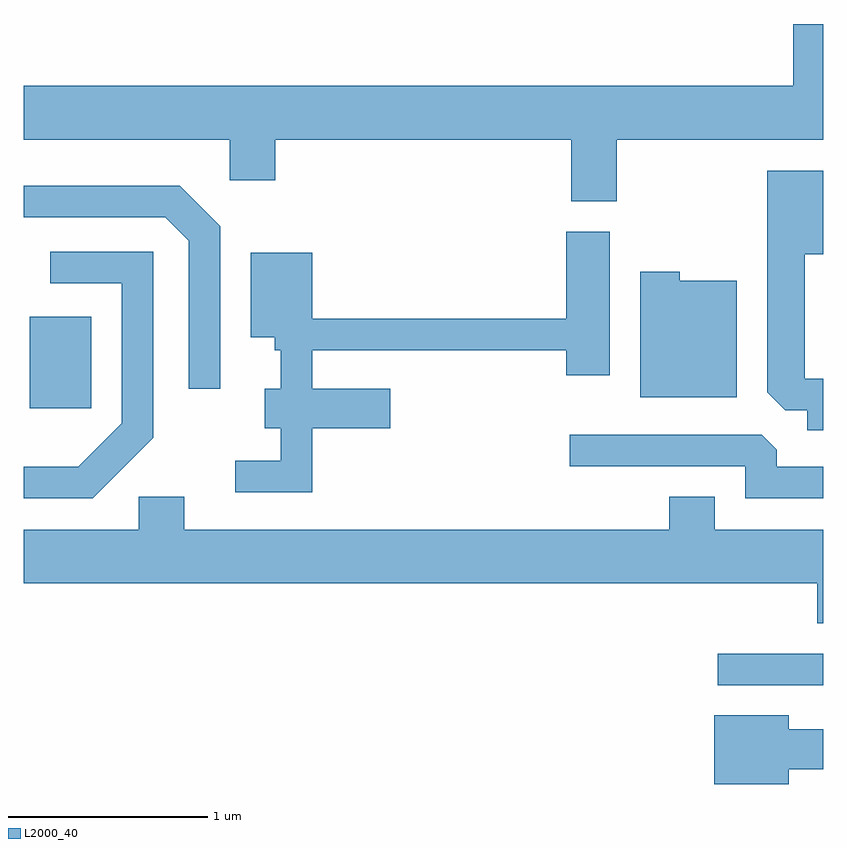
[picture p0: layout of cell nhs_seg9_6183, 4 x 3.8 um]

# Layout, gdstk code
import gdstk
lib = gdstk.Library(unit=1e-6, precision=1e-09)
def R(c, l, rs):  # rectangles x0, y0, x1, y1
    for r in rs: c.add(gdstk.rectangle(r[:2], r[2:], *l))
def P(c, l, *ps):  # polygons
    for p in ps: c.add(gdstk.Polygon(p, *l))
L2000_40 = (2000, 40)

nhs_seg9_6183 = lib.new_cell('nhs_seg9_6183')
R(nhs_seg9_6183, L2000_40, [(371.083,2009.066,371.611,2009.224), (367.641,2010.451,367.949,2010.909)])
P(nhs_seg9_6183, L2000_40, [(370.579,2011.796),(371.611,2011.796),(371.611,2012.374),(371.461,2012.374),(371.461,2012.064),(367.611,2012.064),(367.611,2011.796),(368.641,2011.796),(368.641,2011.591),(368.869,2011.591),(368.869,2011.796),(370.351,2011.796),(370.351,2011.486),(370.579,2011.486)],
  [(371.611,2010.599),(371.519,2010.599),(371.519,2011.221),(371.611,2011.221),(371.611,2011.639),(371.331,2011.639),(371.331,2010.532),(371.422,2010.441),(371.531,2010.441),(371.531,2010.341),(371.611,2010.341)],
  [(368.594,2011.362),(368.392,2011.564),(367.611,2011.564),(367.611,2011.406),(368.319,2011.406),(368.436,2011.289),(368.436,2010.548),(368.594,2010.548)],
  [(369.054,2010.351),(369.444,2010.351),(369.444,2010.549),(369.054,2010.549),(369.054,2010.741),(370.326,2010.741),(370.326,2010.616),(370.544,2010.616),(370.544,2011.334),(370.326,2011.334),(370.326,2010.899),(369.054,2010.899),(369.054,2011.229),(368.746,2011.229),(368.746,2010.806),(368.866,2010.806),(368.866,2010.741),(368.896,2010.741),(368.896,2010.549),(368.816,2010.549),(368.816,2010.351),(368.896,2010.351),(368.896,2010.189),(368.668,2010.189),(368.668,2010.031),(369.054,2010.031)],
  [(368.259,2010.304),(368.259,2011.234),(367.743,2011.234),(367.743,2011.076),(368.101,2011.076),(368.101,2010.377),(367.884,2010.159),(367.611,2010.159),(367.611,2010.001),(367.957,2010.001)],
  [(371.179,2011.089),(370.894,2011.089),(370.894,2011.134),(370.696,2011.134),(370.696,2010.506),(371.179,2010.506)],
  [(371.611,2010.159),(371.379,2010.159),(371.379,2010.244),(371.304,2010.319),(370.343,2010.319),(370.343,2010.161),(371.221,2010.161),(371.221,2010.001),(371.611,2010.001)],
  [(371.611,2009.844),(371.069,2009.844),(371.069,2010.009),(370.841,2010.009),(370.841,2009.844),(368.414,2009.844),(368.414,2010.009),(368.186,2010.009),(368.186,2009.844),(367.611,2009.844),(367.611,2009.576),(371.581,2009.576),(371.581,2009.376),(371.611,2009.376)],
  [(371.439,2008.646),(371.611,2008.646),(371.611,2008.844),(371.439,2008.844),(371.439,2008.914),(371.066,2008.914),(371.066,2008.571),(371.439,2008.571)])

lib.write_gds('nhs_seg9_6183.gds')
